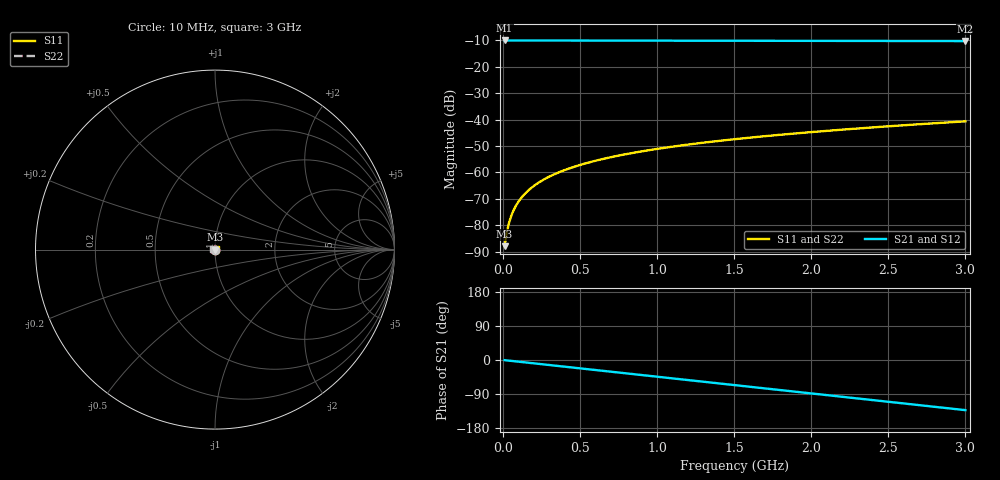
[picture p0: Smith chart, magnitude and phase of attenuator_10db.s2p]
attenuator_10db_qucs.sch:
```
<Qucs Schematic 24.4.1>
<Properties>
  <View=0,0,800,600,1,0,0>
</Properties>
<Symbol>
</Symbol>
<Components>
  <Pac P1 1 100 150 -32 23 0 0 "1" 1 "50 Ohm" 1 "0 dBm" 0 "1 GHz" 0>
  <Pac P2 1 350 150 19 23 0 0 "2" 1 "50 Ohm" 1 "0 dBm" 0 "1 GHz" 0>
  <2Port X1 1 220 150 -20 -40 0 0 "projects/attenuator_10db/simulation/attenuator_10db.s2p" 1 "linear" 0 "open" 0>
  <.SP SP1 1 120 280 0 57 0 0 "lin" 1 "0.01GHz" 1 "3.0GHz" 1 "201" 1 "no" 0>
</Components>
<Wires>
</Wires>
<Diagrams>
</Diagrams>
<Paintings>
</Paintings>
```
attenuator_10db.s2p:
! Touchstone 2-Port S-Parameter Data
! Circuit: 10 dB RF Pi-Attenuator (50Ω, DC-3GHz)
! Substrate: FR4 (er=4.4, h=1.6mm)
! Transmission Line: CPWG (w=1.87mm, s=0.40mm, eps_eff=2.88)
! Simulation Mode: traces
# GHz S MA R 50.0
! Freq(GHz)  S11_mag S11_ang  S21_mag S21_ang  S12_mag S12_ang  S22_mag S22_ang
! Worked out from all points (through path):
!   201 points, 10 MHz to 3 GHz, reference 50 ohm
!   highest |S21| = -10.01 dB at 10 MHz (marker M1); lowest = -10.2 dB at 3 GHz (marker M2)
!   group delay of S21, straight-line fit = 123 ps
!   lowest |S11| = -88.0 dB at 10 MHz (marker M3), VSWR 1.00, Z = 50 - j0.00275 ohm
!   |S11| at or under -10 dB: start of sweep to end of sweep
!   |S22| runs from -88.0 to -40.5 dB; largest |S21 - S12| = 0
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0.01  4e-05 -136.7  0.316 -0.4  0.316 -0.4  4e-05 -136.2
0.0249  7.5e-05 -114.4  0.316 -1.1  0.316 -1.1  7.5e-05 -113.3
0.0399  0.000114 -107.5  0.3159 -1.8  0.3159 -1.8  0.000114 -105.8
0.0848  0.000237 -103.4  0.3158 -3.7  0.3158 -3.7  0.000237 -99.8
0.1595  0.000443 -105.8  0.3157 -7.0  0.3157 -7.0  0.000443 -99.0
0.2642  0.000732 -112.3  0.3154 -11.7  0.3154 -11.7  0.000733 -101.0
0.3987  0.001104 -121.8  0.3151 -17.6  0.3151 -17.6  0.001107 -104.8
0.8173  0.002271 -152.9  0.314 -36.0  0.314 -36.0  0.002285 -118.0
1.505  0.004265 154.7  0.3122 -66.4  0.3122 -66.4  0.004313 -140.9
2.2376  0.006578 98.1  0.3101 -98.7  0.3101 -98.7  0.006689 -166.2
3  0.009279 38.3  0.3077 -132.3  0.3077 -132.3  0.00949 166.7
